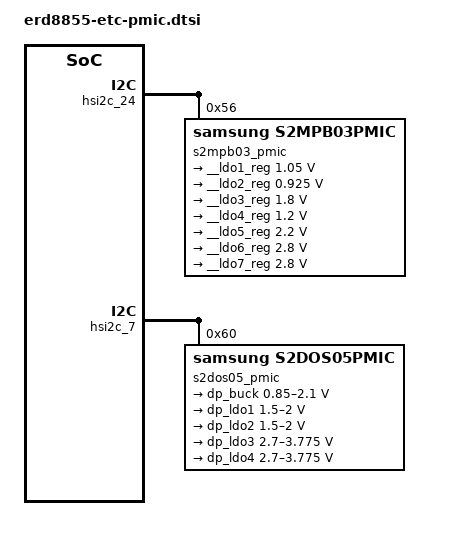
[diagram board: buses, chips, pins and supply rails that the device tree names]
/*
 * SAMSUNG S5E8855 Display, Camera PMIC device tree source
 *
 * Copyright (c) 2024 Samsung Electronics Co., Ltd.
 *             http://www.samsung.com
 *
 * SAMSUNG S5E8855 Display, Camera PMIC device nodes are listed in this file.
 * EXYNOS based board files can include this file and provide
 * values for board specfic bindings.
 *
 * This program is free software; you can redistribute it and/or modify
 * it under the terms of the GNU General Public License version 2 as
 * published by the Free Software Foundation.
 */

&pinctrl_0 {
	dp_pmic_irq: dp-pmic-irq {
		samsung,pins = "gpc6-0";
		samsung,pin-function = <0>;
		samsung,pin-pud = <0>;
		samsung,pin-drv = <0>;
	};
};

&hsi2c7_bus {
	samsung,pin-pud = <3>;
};

&hsi2c_24 {
	#address-cells = <1>;
	#size-cells = <0>;
	status = "okay";
	s2mpb03_pmic@56 {
		compatible = "samsung,s2mpb03pmic";
		reg = <0x56>;

		s2mpb03,wakeup;

		regulators {
			__ldo1_reg: s2mpb03-ldo1 {
				regulator-name = "VDDD_1.05V_CAM";
				regulator-min-microvolt = <1050000>;
				regulator-max-microvolt = <1050000>;
			};

			__ldo2_reg: s2mpb03-ldo2 {
				regulator-name = "VDDD_0.92V_VT";
				regulator-min-microvolt = <925000>;
				regulator-max-microvolt = <925000>;
			};

			__ldo3_reg: s2mpb03-ldo3 {
				regulator-name = "VDDIO_1.8V_CAM";
				regulator-min-microvolt = <1800000>;
				regulator-max-microvolt = <1800000>;
			};

			__ldo4_reg: s2mpb03-ldo4 {
				regulator-name = "VDDD_1.2V_UWCAM";
				regulator-min-microvolt = <1200000>;
				regulator-max-microvolt = <1200000>;
			};

			__ldo5_reg: s2mpb03-ldo5 {
				regulator-name = "VDDA_2.2V_VT";
				regulator-min-microvolt = <2200000>;
				regulator-max-microvolt = <2200000>;
			};

			__ldo6_reg: s2mpb03-ldo6 {
				regulator-name = "VDDA_2.8V_UWCAM";
				regulator-min-microvolt = <2800000>;
				regulator-max-microvolt = <2800000>;
			};

			__ldo7_reg: s2mpb03-ldo7 {
				regulator-name = "VDDAF_2.8_VT_CAM";
				regulator-min-microvolt = <2800000>;
				regulator-max-microvolt = <2800000>;
			};
		};
	};
};

&hsi2c_7 {
	#address-cells = <1>;
	#size-cells = <0>;
	status = "okay";
	s2dos05_pmic@60 {
		compatible = "samsung,s2dos05pmic";
		reg = <0x60>;
		s2dos05,wakeup;
		pinctrl-names = "default";
		pinctrl-0 = <&dp_pmic_irq>;
		s2dos05,s2dos05_int = <&gpc6 0 0>;
		adc_mode = <1>; /* 0 : disable, 1 : current meter, 2 : power meter */
		adc_sync_mode = <2>; /* 1 : sync mode, 2 : async mode */
		regulators {
			dp_buck: s2dos05-buck1 {
				regulator-name = "S2DOS05_BUCK1";
				regulator-min-microvolt = <850000>;
				regulator-max-microvolt = <2100000>;
				regulator-enable-mode = <3>;
			};
			dp_ldo1: s2dos05-ldo1 {
				regulator-name = "S2DOS05_LDO1";
				regulator-min-microvolt = <1500000>;
				regulator-max-microvolt = <2000000>;
				regulator-enable-mode = <3>;
			};
			dp_ldo2: s2dos05-ldo2 {
				regulator-name = "S2DOS05_LDO2";
				regulator-min-microvolt = <1500000>;
				regulator-max-microvolt = <2000000>;
				regulator-enable-mode = <3>;
			};
			dp_ldo3: s2dos05-ldo3 {
				regulator-name = "S2DOS05_LDO3";
				regulator-min-microvolt = <2700000>;
				regulator-max-microvolt = <3775000>;
				regulator-enable-mode = <3>;
			};
			dp_ldo4: s2dos05-ldo4 {
				regulator-name = "S2DOS05_LDO4";
				regulator-min-microvolt = <2700000>;
				regulator-max-microvolt = <3775000>;
				regulator-enable-mode = <3>;
			};
		};
	};
};
